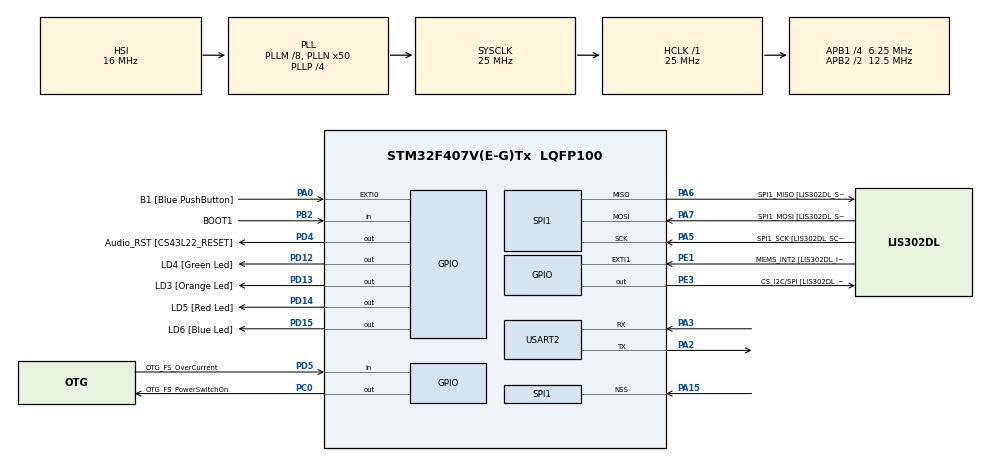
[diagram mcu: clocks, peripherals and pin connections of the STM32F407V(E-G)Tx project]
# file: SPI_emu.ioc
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Dma.Request0=USART2_RX
Dma.USART2_RX.0.Direction=DMA_PERIPH_TO_MEMORY
Dma.USART2_RX.0.FIFOMode=DMA_FIFOMODE_DISABLE
Dma.USART2_RX.0.Instance=DMA1_Stream5
Dma.USART2_RX.0.MemDataAlignment=DMA_MDATAALIGN_BYTE
Dma.USART2_RX.0.MemInc=DMA_MINC_ENABLE
Dma.USART2_RX.0.Mode=DMA_NORMAL
Dma.USART2_RX.0.PeriphDataAlignment=DMA_PDATAALIGN_BYTE
Dma.USART2_RX.0.PeriphInc=DMA_PINC_DISABLE
Dma.USART2_RX.0.Priority=DMA_PRIORITY_LOW
Mcu.Family=STM32F4
Mcu.Name=STM32F407V(E-G)Tx
Mcu.Package=LQFP100
NVIC.DMA1_Stream5_IRQn=true\:0\:0\:false\:false\:true
NVIC.PriorityGroup=NVIC_PRIORITYGROUP_0
NVIC.SPI1_IRQn=true\:0\:0\:false\:false\:true
NVIC.USART2_IRQn=true\:0\:0\:false\:false\:true
PA0-WKUP.GPIO_Label=B1 [Blue PushButton]
PA0-WKUP.Signal=GPXTI0
PA10.GPIO_Label=OTG_FS_ID
PA10.GPIO_Mode=GPIO_MODE_AF_PP
PA10.GPIO_PuPd=GPIO_NOPULL
PA10.GPIO_Speed=GPIO_SPEED_FREQ_LOW
PA10.Signal=USB_OTG_FS_ID
PA11.GPIO_Label=OTG_FS_DM
PA11.GPIO_Mode=GPIO_MODE_AF_PP
PA11.GPIO_PuPd=GPIO_NOPULL
PA11.GPIO_Speed=GPIO_SPEED_FREQ_LOW
PA11.Signal=USB_OTG_FS_DM
PA12.GPIO_Label=OTG_FS_DP
PA12.GPIO_Mode=GPIO_MODE_AF_PP
PA12.GPIO_PuPd=GPIO_NOPULL
PA12.GPIO_Speed=GPIO_SPEED_FREQ_LOW
PA12.Signal=USB_OTG_FS_DP
PA13.GPIO_Label=SWDIO
PA13.Signal=SYS_JTMS-SWDIO
PA14.GPIO_Label=SWCLK
PA14.Signal=SYS_JTCK-SWCLK
PA15.Mode=NSS_Signal_Hard_Input
PA15.Signal=SPI1_NSS
PA2.Mode=Asynchronous
PA2.Signal=USART2_TX
PA3.Mode=Asynchronous
PA3.Signal=USART2_RX
PA4.GPIO_Label=I2S3_WS [CS43L22_LRCK]
PA4.GPIO_Mode=GPIO_MODE_AF_PP
PA4.GPIO_PuPd=GPIO_NOPULL
PA4.GPIO_Speed=GPIO_SPEED_FREQ_LOW
PA4.Signal=I2S3_WS
PA5.GPIO_Label=SPI1_SCK [LIS302DL_SCL/SPC]
PA5.GPIO_Mode=GPIO_MODE_AF_PP
PA5.GPIO_PuPd=GPIO_NOPULL
PA5.GPIO_Speed=GPIO_SPEED_FREQ_LOW
PA5.Mode=Full_Duplex_Slave
PA5.Signal=SPI1_SCK
PA6.GPIO_Label=SPI1_MISO [LIS302DL_SDO]
PA6.GPIO_Mode=GPIO_MODE_AF_PP
PA6.GPIO_PuPd=GPIO_NOPULL
PA6.GPIO_Speed=GPIO_SPEED_FREQ_LOW
PA6.Mode=Full_Duplex_Slave
PA6.Signal=SPI1_MISO
PA7.GPIO_Label=SPI1_MOSI [LIS302DL_SDA/SDI/SDO]
PA7.GPIO_Mode=GPIO_MODE_AF_PP
PA7.GPIO_PuPd=GPIO_NOPULL
PA7.GPIO_Speed=GPIO_SPEED_FREQ_LOW
PA7.Mode=Full_Duplex_Slave
PA7.Signal=SPI1_MOSI
PA9.GPIO_Label=VBUS_FS
PA9.GPIO_Mode=GPIO_MODE_INPUT
PA9.GPIO_PuPd=GPIO_NOPULL
PA9.Signal=USB_OTG_FS_VBUS
PB10.GPIO_Label=CLK_IN [MP45DT02_CLK]
PB10.GPIO_Mode=GPIO_MODE_AF_PP
PB10.GPIO_PuPd=GPIO_NOPULL
PB10.GPIO_Speed=GPIO_SPEED_FREQ_LOW
PB10.Signal=I2S2_CK
PB2.GPIO_Label=BOOT1
PB2.GPIO_Mode=GPIO_MODE_INPUT
PB2.GPIO_PuPd=GPIO_NOPULL
PB2.Signal=GPIO_Input
PB3.GPIO_Label=SWO
PB3.Signal=SYS_JTDO-SWO
PB6.GPIO_Label=Audio_SCL [CS43L22_SCL]
PB6.GPIO_Mode=GPIO_MODE_AF_OD
PB6.GPIO_PuPd=GPIO_NOPULL
PB6.GPIO_Speed=GPIO_SPEED_FREQ_LOW
PB6.Signal=I2C1_SCL
PB9.GPIO_Label=Audio_SDA [CS43L22_SDA]
PB9.GPIO_Mode=GPIO_MODE_AF_OD
PB9.GPIO_PuPd=GPIO_NOPULL
PB9.GPIO_Speed=GPIO_SPEED_FREQ_LOW
PB9.Signal=I2C1_SDA
PC0.GPIO_Label=OTG_FS_PowerSwitchOn
PC0.GPIO_PuPd=GPIO_NOPULL
PC0.GPIO_Speed=GPIO_SPEED_FREQ_LOW
PC0.PinState=GPIO_PIN_SET
PC0.Signal=GPIO_Output
PC10.GPIO_Label=I2S3_SCK [CS43L22_SCLK]
PC10.GPIO_Mode=GPIO_MODE_AF_PP
PC10.GPIO_PuPd=GPIO_NOPULL
PC10.GPIO_Speed=GPIO_SPEED_FREQ_LOW
PC10.Signal=I2S3_CK
PC12.GPIO_Label=I2S3_SD [CS43L22_SDIN]
PC12.GPIO_Mode=GPIO_MODE_AF_PP
PC12.GPIO_PuPd=GPIO_NOPULL
PC12.GPIO_Speed=GPIO_SPEED_FREQ_LOW
PC12.Signal=I2S3_SD
PC14-OSC32_IN.GPIO_Label=PC14-OSC32_IN
PC14-OSC32_IN.Signal=RCC_OSC32_IN
PC15-OSC32_OUT.GPIO_Label=PC15-OSC32_OUT
PC15-OSC32_OUT.Signal=RCC_OSC32_OUT
PC3.GPIO_Label=PDM_OUT [MP45DT02_DOUT]
PC3.GPIO_Mode=GPIO_MODE_AF_PP
PC3.GPIO_PuPd=GPIO_NOPULL
PC3.GPIO_Speed=GPIO_SPEED_FREQ_LOW
PC3.Signal=I2S2_SD
PC7.GPIO_Label=I2S3_MCK [CS43L22_MCLK]
PC7.GPIO_Mode=GPIO_MODE_AF_PP
PC7.GPIO_PuPd=GPIO_NOPULL
PC7.GPIO_Speed=GPIO_SPEED_FREQ_LOW
PC7.Signal=I2S3_MCK
PD12.GPIO_Label=LD4 [Green Led]
PD12.GPIO_PuPd=GPIO_NOPULL
PD12.GPIO_Speed=GPIO_SPEED_FREQ_LOW
PD12.Signal=GPIO_Output
PD13.GPIO_Label=LD3 [Orange Led]
PD13.GPIO_PuPd=GPIO_NOPULL
PD13.GPIO_Speed=GPIO_SPEED_FREQ_LOW
PD13.Signal=GPIO_Output
PD14.GPIO_Label=LD5 [Red Led]
PD14.GPIO_PuPd=GPIO_NOPULL
PD14.GPIO_Speed=GPIO_SPEED_FREQ_LOW
PD14.Signal=GPIO_Output
PD15.GPIO_Label=LD6 [Blue Led]
PD15.GPIO_PuPd=GPIO_NOPULL
PD15.GPIO_Speed=GPIO_SPEED_FREQ_LOW
PD15.Signal=GPIO_Output
PD4.GPIO_Label=Audio_RST [CS43L22_RESET]
PD4.GPIO_PuPd=GPIO_NOPULL
PD4.GPIO_Speed=GPIO_SPEED_FREQ_LOW
PD4.Signal=GPIO_Output
PD5.GPIO_Label=OTG_FS_OverCurrent
PD5.GPIO_Mode=GPIO_MODE_INPUT
PD5.GPIO_PuPd=GPIO_NOPULL
PD5.Signal=GPIO_Input
PE1.GPIO_Label=MEMS_INT2 [LIS302DL_INT2]
PE1.GPIO_ModeDefaultEXTI=GPIO_MODE_EVT_RISING
PE1.GPIO_PuPd=GPIO_NOPULL
PE1.Signal=GPXTI1
PE3.GPIO_Label=CS_I2C/SPI [LIS302DL_CS_I2C/SPI]
PE3.GPIO_PuPd=GPIO_NOPULL
PE3.GPIO_Speed=GPIO_SPEED_FREQ_LOW
PE3.Signal=GPIO_Output
PH0-OSC_IN.GPIO_Label=PH0-OSC_IN
PH0-OSC_IN.Signal=RCC_OSC_IN
PH1-OSC_OUT.GPIO_Label=PH1-OSC_OUT
PH1-OSC_OUT.Signal=RCC_OSC_OUT
ProjectManager.HeapSize=0x200
ProjectManager.StackSize=0x400
ProjectManager.TargetToolchain=SW4STM32
RCC.48MHZClocksFreq_Value=14285714.285714285
RCC.AHBFreq_Value=25000000
RCC.APB1CLKDivider=RCC_HCLK_DIV4
RCC.APB1Freq_Value=6250000
RCC.APB1TimFreq_Value=12500000
RCC.APB2CLKDivider=RCC_HCLK_DIV2
RCC.APB2Freq_Value=12500000
RCC.APB2TimFreq_Value=25000000
RCC.CortexFreq_Value=25000000
RCC.HCLKFreq_Value=25000000
RCC.HSE_VALUE=8000000
RCC.HSI_VALUE=16000000
RCC.LSE_VALUE=32768
RCC.PLLM=8
RCC.PLLN=50
RCC.PLLP=RCC_PLLP_DIV4
RCC.PLLQ=7
RCC.SYSCLKFreq_VALUE=25000000
RCC.SYSCLKSource=RCC_SYSCLKSOURCE_PLLCLK
RCC.VCOOutputFreq_Value=100000000
SPI1.VirtualNSS=VM_NSSHARD
SPI1.VirtualType=VM_SLAVE
board=STM32F407G-DISC1

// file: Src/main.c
/**
  ******************************************************************************
  * File Name          : main.c
  * Description        : Main program body
  ******************************************************************************
  *
  * COPYRIGHT(c) 2017 STMicroelectronics
  *
  * Redistribution and use in source and binary forms, with or without modification,
  * are permitted provided that the following conditions are met:
  *   1. Redistributions of source code must retain the above copyright notice,
  *      this list of conditions and the following disclaimer.
  *   2. Redistributions in binary form must reproduce the above copyright notice,
  *      this list of conditions and the following disclaimer in the documentation
  *      and/or other materials provided with the distribution.
  *   3. Neither the name of STMicroelectronics nor the names of its contributors
  *      may be used to endorse or promote products derived from this software
  *      without specific prior written permission.
  *
  * THIS SOFTWARE IS PROVIDED BY THE COPYRIGHT HOLDERS AND CONTRIBUTORS "AS IS"
  * AND ANY EXPRESS OR IMPLIED WARRANTIES, INCLUDING, BUT NOT LIMITED TO, THE
  * IMPLIED WARRANTIES OF MERCHANTABILITY AND FITNESS FOR A PARTICULAR PURPOSE ARE
  * DISCLAIMED. IN NO EVENT SHALL THE COPYRIGHT HOLDER OR CONTRIBUTORS BE LIABLE
  * FOR ANY DIRECT, INDIRECT, INCIDENTAL, SPECIAL, EXEMPLARY, OR CONSEQUENTIAL
  * DAMAGES (INCLUDING, BUT NOT LIMITED TO, PROCUREMENT OF SUBSTITUTE GOODS OR
  * SERVICES; LOSS OF USE, DATA, OR PROFITS; OR BUSINESS INTERRUPTION) HOWEVER
  * CAUSED AND ON ANY THEORY OF LIABILITY, WHETHER IN CONTRACT, STRICT LIABILITY,
  * OR TORT (INCLUDING NEGLIGENCE OR OTHERWISE) ARISING IN ANY WAY OUT OF THE USE
  * OF THIS SOFTWARE, EVEN IF ADVISED OF THE POSSIBILITY OF SUCH DAMAGE.
  *
  ******************************************************************************
  */
#include "main.h"
#include "stm32f4xx_hal.h"

/* USER CODE BEGIN Includes */
#include <string.h>
#include <stdlib.h>
#include <stdio.h>
/* USER CODE END Includes */

SPI_HandleTypeDef hspi1;

UART_HandleTypeDef huart2;
DMA_HandleTypeDef hdma_usart2_rx;

/* USER CODE BEGIN PV */

#define sl(X) (uint8_t *)X, strlen(X)
#define BUFF_SIZE 0x10000 // 512k = 0x80000, 64k = 0x10000

#define W_ENABLE 0x06
#define W_DISABLE 0x04
#define R_STATUS 0x05
#define W_STATUS 0x01
#define R_DATA 0x03
#define R_FAST 0x0b
#define R_DFAST 0x3b
#define PAGE_PROG 0x02
#define E_BLOCK 0xd8
#define E_SECTOR 0x20
#define E_CHIP 0x60
#define POWER_DOWN 0xb9
#define DEV_ID 0xab
#define MAN_DEV_ID 0x90
#define JEDEC_ID 0x9f
char *MANID = "\xEF\x30\x13";

#define S_CMD 1
#define S_INPUT 2
#define S_OUTPUT 3
/* Private variables ---------------------------------------------------------*/
uint8_t cmd_byte;
uint8_t addr[3];

uint8_t s_mode;
uint8_t test_data = 0x42;

/* USER CODE END PV */
void SystemClock_Config(void);
void Error_Handler(void);
static void MX_GPIO_Init(void);
static void MX_DMA_Init(void);
static void MX_SPI1_Init(void);
static void MX_USART2_UART_Init(void);

/* USER CODE BEGIN PFP */
/* Private function prototypes -----------------------------------------------*/

/* USER CODE END PFP */

/* USER CODE BEGIN 0 */
char b[2];
uint8_t blah[4];
void HAL_SPI_RxCpltCallback(SPI_HandleTypeDef *hspi){
	if(s_mode == S_CMD){
		switch(cmd_byte){
			case R_DATA:
				HAL_UART_Transmit(&huart2, sl("Read command!\r\n"), HAL_MAX_DELAY);
				s_mode = S_INPUT;
				HAL_SPI_Receive_IT(hspi, addr, 3);
				break;
			case JEDEC_ID:
				HAL_UART_Transmit(&huart2, sl("Requested chip ID\r\n"), HAL_MAX_DELAY);
				s_mode = S_OUTPUT;
				HAL_SPI_Transmit_IT(hspi, MANID, 3);
				break;
			default:
				HAL_UART_Transmit(&huart2, sl("Unknown command byte: "), HAL_MAX_DELAY);
				itoa(cmd_byte, b, 16);
				HAL_UART_Transmit(&huart2, (uint8_t *)b, 2, HAL_MAX_DELAY);
				HAL_UART_Transmit(&huart2, sl("\r\n"), HAL_MAX_DELAY);
				HAL_SPI_Receive_IT(hspi, &cmd_byte, 1);
		}
	}else if(s_mode == S_INPUT){
		switch(cmd_byte){
			case R_DATA:
				s_mode = S_OUTPUT;
				HAL_SPI_TransmitReceive_IT(hspi, &test_data, blah, 1);
				break;
		}
	}
}

void HAL_SPI_TxRxCpltCallback(SPI_HandleTypeDef *hspi){
	HAL_SPI_TxCpltCallback(hspi);
}

void HAL_SPI_TxCpltCallback(SPI_HandleTypeDef *hspi)
{
	if(s_mode == S_OUTPUT){
		switch(cmd_byte){
			case R_DATA:
				s_mode = S_CMD;
				HAL_SPI_Receive_IT(hspi, &cmd_byte, 1);
				break;
			case JEDEC_ID:
				s_mode = S_CMD;
				HAL_SPI_Receive_IT(hspi, &cmd_byte, 1);
				break;
		}
	}
}
/* USER CODE END 0 */

int main(void)
{

  /* MCU Configuration----------------------------------------------------------*/

  /* Reset of all peripherals, Initializes the Flash interface and the Systick. */
  HAL_Init();

  /* Configure the system clock */
  SystemClock_Config();

  /* Initialize all configured peripherals */
  MX_GPIO_Init();
  MX_DMA_Init();
  MX_SPI1_Init();
  MX_USART2_UART_Init();

  /* USER CODE BEGIN 2 */
	HAL_GPIO_WritePin(GPIOD, LD3_Pin|LD4_Pin|LD5_Pin|LD6_Pin, GPIO_PIN_RESET);
	HAL_GPIO_WritePin(GPIOD, LD4_Pin, GPIO_PIN_SET);

	s_mode = S_CMD;
	HAL_SPI_Receive_IT(&hspi1, &cmd_byte, 1);
  /* USER CODE END 2 */

  /* Infinite loop */
  while (1)
  {

  }

}

/** System Clock Configuration
*/
void SystemClock_Config(void)
{

  RCC_OscInitTypeDef RCC_OscInitStruct;
  RCC_ClkInitTypeDef RCC_ClkInitStruct;

    /**Configure the main internal regulator output voltage
    */
  __HAL_RCC_PWR_CLK_ENABLE();

  __HAL_PWR_VOLTAGESCALING_CONFIG(PWR_REGULATOR_VOLTAGE_SCALE1);

    /**Initializes the CPU, AHB and APB busses clocks
    */
  RCC_OscInitStruct.OscillatorType = RCC_OSCILLATORTYPE_HSI;
  RCC_OscInitStruct.HSIState = RCC_HSI_ON;
  RCC_OscInitStruct.HSICalibrationValue = 16;
  RCC_OscInitStruct.PLL.PLLState = RCC_PLL_ON;
  RCC_OscInitStruct.PLL.PLLSource = RCC_PLLSOURCE_HSI;
  RCC_OscInitStruct.PLL.PLLM = 8;
  RCC_OscInitStruct.PLL.PLLN = 50;
  RCC_OscInitStruct.PLL.PLLP = RCC_PLLP_DIV4;
  RCC_OscInitStruct.PLL.PLLQ = 7;
  if (HAL_RCC_OscConfig(&RCC_OscInitStruct) != HAL_OK)
  {
    Error_Handler();
  }

    /**Initializes the CPU, AHB and APB busses clocks
    */
  RCC_ClkInitStruct.ClockType = RCC_CLOCKTYPE_HCLK|RCC_CLOCKTYPE_SYSCLK
                              |RCC_CLOCKTYPE_PCLK1|RCC_CLOCKTYPE_PCLK2;
  RCC_ClkInitStruct.SYSCLKSource = RCC_SYSCLKSOURCE_PLLCLK;
  RCC_ClkInitStruct.AHBCLKDivider = RCC_SYSCLK_DIV1;
  RCC_ClkInitStruct.APB1CLKDivider = RCC_HCLK_DIV4;
  RCC_ClkInitStruct.APB2CLKDivider = RCC_HCLK_DIV2;

  if (HAL_RCC_ClockConfig(&RCC_ClkInitStruct, FLASH_LATENCY_0) != HAL_OK)
  {
    Error_Handler();
  }

    /**Configure the Systick interrupt time
    */
  HAL_SYSTICK_Config(HAL_RCC_GetHCLKFreq()/1000);

    /**Configure the Systick
    */
  HAL_SYSTICK_CLKSourceConfig(SYSTICK_CLKSOURCE_HCLK);

  /* SysTick_IRQn interrupt configuration */
  HAL_NVIC_SetPriority(SysTick_IRQn, 0, 0);
}

/* SPI1 init function */
static void MX_SPI1_Init(void)
{

  hspi1.Instance = SPI1;
  hspi1.Init.Mode = SPI_MODE_SLAVE;
  hspi1.Init.Direction = SPI_DIRECTION_2LINES;
  hspi1.Init.DataSize = SPI_DATASIZE_8BIT;
  hspi1.Init.CLKPolarity = SPI_POLARITY_LOW;
  hspi1.Init.CLKPhase = SPI_PHASE_1EDGE;
  hspi1.Init.NSS = SPI_NSS_HARD_INPUT;
  hspi1.Init.FirstBit = SPI_FIRSTBIT_MSB;
  hspi1.Init.TIMode = SPI_TIMODE_DISABLE;
  hspi1.Init.CRCCalculation = SPI_CRCCALCULATION_DISABLE;
  hspi1.Init.CRCPolynomial = 10;
  if (HAL_SPI_Init(&hspi1) != HAL_OK)
  {
    Error_Handler();
  }

}

/* USART2 init function */
static void MX_USART2_UART_Init(void)
{

  huart2.Instance = USART2;
  huart2.Init.BaudRate = 115200;
  huart2.Init.WordLength = UART_WORDLENGTH_8B;
  huart2.Init.StopBits = UART_STOPBITS_1;
  huart2.Init.Parity = UART_PARITY_NONE;
  huart2.Init.Mode = UART_MODE_TX_RX;
  huart2.Init.HwFlowCtl = UART_HWCONTROL_NONE;
  huart2.Init.OverSampling = UART_OVERSAMPLING_16;
  if (HAL_UART_Init(&huart2) != HAL_OK)
  {
    Error_Handler();
  }

}

static void MX_DMA_Init(void)
{
  /* DMA controller clock enable */
  __HAL_RCC_DMA1_CLK_ENABLE();

  /* DMA interrupt init */
  /* DMA1_Stream5_IRQn interrupt configuration */
  HAL_NVIC_SetPriority(DMA1_Stream5_IRQn, 0, 0);
  HAL_NVIC_EnableIRQ(DMA1_Stream5_IRQn);

}

/** Configure pins as
        * Analog
        * Input
        * Output
        * EVENT_OUT
        * EXTI
     PC3   ------> I2S2_SD
     PA4   ------> I2S3_WS
     PB10   ------> I2S2_CK
     PC7   ------> I2S3_MCK
     PA9   ------> USB_OTG_FS_VBUS
     PA10   ------> USB_OTG_FS_ID
     PA11   ------> USB_OTG_FS_DM
     PA12   ------> USB_OTG_FS_DP
     PC10   ------> I2S3_CK
     PC12   ------> I2S3_SD
     PB6   ------> I2C1_SCL
     PB9   ------> I2C1_SDA
*/
static void MX_GPIO_Init(void)
{

  GPIO_InitTypeDef GPIO_InitStruct;

  /* GPIO Ports Clock Enable */
  __HAL_RCC_GPIOE_CLK_ENABLE();
  __HAL_RCC_GPIOC_CLK_ENABLE();
  __HAL_RCC_GPIOH_CLK_ENABLE();
  __HAL_RCC_GPIOA_CLK_ENABLE();
  __HAL_RCC_GPIOB_CLK_ENABLE();
  __HAL_RCC_GPIOD_CLK_ENABLE();

  /*Configure GPIO pin Output Level */
  HAL_GPIO_WritePin(CS_I2C_SPI_GPIO_Port, CS_I2C_SPI_Pin, GPIO_PIN_RESET);

  /*Configure GPIO pin Output Level */
  HAL_GPIO_WritePin(OTG_FS_PowerSwitchOn_GPIO_Port, OTG_FS_PowerSwitchOn_Pin, GPIO_PIN_SET);

  /*Configure GPIO pin Output Level */
  HAL_GPIO_WritePin(GPIOD, LD4_Pin|LD3_Pin|LD5_Pin|LD6_Pin
                          |Audio_RST_Pin, GPIO_PIN_RESET);

  /*Configure GPIO pin : CS_I2C_SPI_Pin */
  GPIO_InitStruct.Pin = CS_I2C_SPI_Pin;
  GPIO_InitStruct.Mode = GPIO_MODE_OUTPUT_PP;
  GPIO_InitStruct.Pull = GPIO_NOPULL;
  GPIO_InitStruct.Speed = GPIO_SPEED_FREQ_LOW;
  HAL_GPIO_Init(CS_I2C_SPI_GPIO_Port, &GPIO_InitStruct);

  /*Configure GPIO pin : OTG_FS_PowerSwitchOn_Pin */
  GPIO_InitStruct.Pin = OTG_FS_PowerSwitchOn_Pin;
  GPIO_InitStruct.Mode = GPIO_MODE_OUTPUT_PP;
  GPIO_InitStruct.Pull = GPIO_NOPULL;
  GPIO_InitStruct.Speed = GPIO_SPEED_FREQ_LOW;
  HAL_GPIO_Init(OTG_FS_PowerSwitchOn_GPIO_Port, &GPIO_InitStruct);

  /*Configure GPIO pin : PDM_OUT_Pin */
  GPIO_InitStruct.Pin = PDM_OUT_Pin;
  GPIO_InitStruct.Mode = GPIO_MODE_AF_PP;
  GPIO_InitStruct.Pull = GPIO_NOPULL;
  GPIO_InitStruct.Speed = GPIO_SPEED_FREQ_LOW;
  GPIO_InitStruct.Alternate = GPIO_AF5_SPI2;
  HAL_GPIO_Init(PDM_OUT_GPIO_Port, &GPIO_InitStruct);

  /*Configure GPIO pin : B1_Pin */
  GPIO_InitStruct.Pin = B1_Pin;
  GPIO_InitStruct.Mode = GPIO_MODE_IT_RISING;
  GPIO_InitStruct.Pull = GPIO_NOPULL;
  HAL_GPIO_Init(B1_GPIO_Port, &GPIO_InitStruct);

  /*Configure GPIO pin : I2S3_WS_Pin */
  GPIO_InitStruct.Pin = I2S3_WS_Pin;
  GPIO_InitStruct.Mode = GPIO_MODE_AF_PP;
  GPIO_InitStruct.Pull = GPIO_NOPULL;
  GPIO_InitStruct.Speed = GPIO_SPEED_FREQ_LOW;
  GPIO_InitStruct.Alternate = GPIO_AF6_SPI3;
  HAL_GPIO_Init(I2S3_WS_GPIO_Port, &GPIO_InitStruct);

  /*Configure GPIO pin : BOOT1_Pin */
  GPIO_InitStruct.Pin = BOOT1_Pin;
  GPIO_InitStruct.Mode = GPIO_MODE_INPUT;
  GPIO_InitStruct.Pull = GPIO_NOPULL;
  HAL_GPIO_Init(BOOT1_GPIO_Port, &GPIO_InitStruct);

  /*Configure GPIO pin : CLK_IN_Pin */
  GPIO_InitStruct.Pin = CLK_IN_Pin;
  GPIO_InitStruct.Mode = GPIO_MODE_AF_PP;
  GPIO_InitStruct.Pull = GPIO_NOPULL;
  GPIO_InitStruct.Speed = GPIO_SPEED_FREQ_LOW;
  GPIO_InitStruct.Alternate = GPIO_AF5_SPI2;
  HAL_GPIO_Init(CLK_IN_GPIO_Port, &GPIO_InitStruct);

  /*Configure GPIO pins : LD4_Pin LD3_Pin LD5_Pin LD6_Pin
                           Audio_RST_Pin */
  GPIO_InitStruct.Pin = LD4_Pin|LD3_Pin|LD5_Pin|LD6_Pin
                          |Audio_RST_Pin;
  GPIO_InitStruct.Mode = GPIO_MODE_OUTPUT_PP;
  GPIO_InitStruct.Pull = GPIO_NOPULL;
  GPIO_InitStruct.Speed = GPIO_SPEED_FREQ_LOW;
  HAL_GPIO_Init(GPIOD, &GPIO_InitStruct);

  /*Configure GPIO pins : I2S3_MCK_Pin I2S3_SCK_Pin I2S3_SD_Pin */
  GPIO_InitStruct.Pin = I2S3_MCK_Pin|I2S3_SCK_Pin|I2S3_SD_Pin;
  GPIO_InitStruct.Mode = GPIO_MODE_AF_PP;
  GPIO_InitStruct.Pull = GPIO_NOPULL;
  GPIO_InitStruct.Speed = GPIO_SPEED_FREQ_LOW;
  GPIO_InitStruct.Alternate = GPIO_AF6_SPI3;
  HAL_GPIO_Init(GPIOC, &GPIO_InitStruct);

  /*Configure GPIO pin : VBUS_FS_Pin */
  GPIO_InitStruct.Pin = VBUS_FS_Pin;
  GPIO_InitStruct.Mode = GPIO_MODE_INPUT;
  GPIO_InitStruct.Pull = GPIO_NOPULL;
  HAL_GPIO_Init(VBUS_FS_GPIO_Port, &GPIO_InitStruct);

  /*Configure GPIO pins : OTG_FS_ID_Pin OTG_FS_DM_Pin OTG_FS_DP_Pin */
  GPIO_InitStruct.Pin = OTG_FS_ID_Pin|OTG_FS_DM_Pin|OTG_FS_DP_Pin;
  GPIO_InitStruct.Mode = GPIO_MODE_AF_PP;
  GPIO_InitStruct.Pull = GPIO_NOPULL;
  GPIO_InitStruct.Speed = GPIO_SPEED_FREQ_LOW;
  GPIO_InitStruct.Alternate = GPIO_AF10_OTG_FS;
  HAL_GPIO_Init(GPIOA, &GPIO_InitStruct);

  /*Configure GPIO pin : OTG_FS_OverCurrent_Pin */
  GPIO_InitStruct.Pin = OTG_FS_OverCurrent_Pin;
  GPIO_InitStruct.Mode = GPIO_MODE_INPUT;
  GPIO_InitStruct.Pull = GPIO_NOPULL;
  HAL_GPIO_Init(OTG_FS_OverCurrent_GPIO_Port, &GPIO_InitStruct);

  /*Configure GPIO pins : Audio_SCL_Pin Audio_SDA_Pin */
  GPIO_InitStruct.Pin = Audio_SCL_Pin|Audio_SDA_Pin;
  GPIO_InitStruct.Mode = GPIO_MODE_AF_OD;
  GPIO_InitStruct.Pull = GPIO_PULLUP;
  GPIO_InitStruct.Speed = GPIO_SPEED_FREQ_LOW;
  GPIO_InitStruct.Alternate = GPIO_AF4_I2C1;
  HAL_GPIO_Init(GPIOB, &GPIO_InitStruct);

  /*Configure GPIO pin : MEMS_INT2_Pin */
  GPIO_InitStruct.Pin = MEMS_INT2_Pin;
  GPIO_InitStruct.Mode = GPIO_MODE_EVT_RISING;
  GPIO_InitStruct.Pull = GPIO_NOPULL;
  HAL_GPIO_Init(MEMS_INT2_GPIO_Port, &GPIO_InitStruct);

}

void Error_Handler(void)
{
  /* USER CODE BEGIN Error_Handler */
  /* User can add his own implementation to report the HAL error return state */
  while(1)
  {
	HAL_GPIO_TogglePin(GPIOD, LD3_Pin);
	HAL_Delay(500);
  }
  /* USER CODE END Error_Handler */
}

/************************ (C) COPYRIGHT STMicroelectronics *****END OF FILE****/
